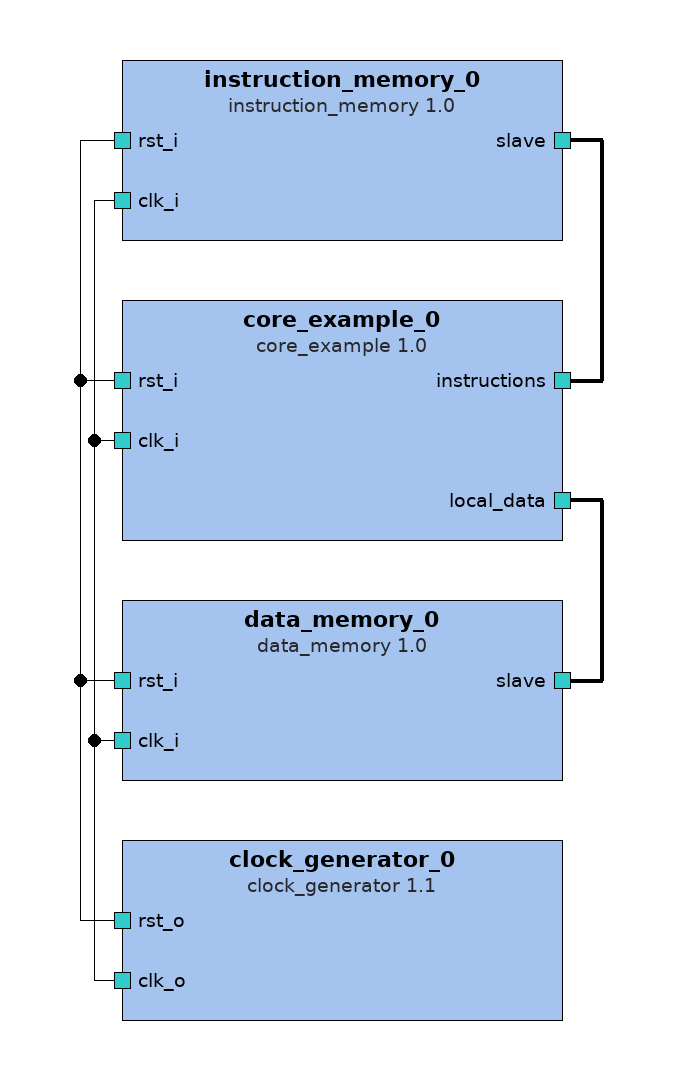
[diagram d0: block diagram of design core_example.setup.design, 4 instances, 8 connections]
<?xml version="1.0" encoding="UTF-8"?>
<ipxact:design xmlns:xsi="http://www.w3.org/2001/XMLSchema-instance" xmlns:ipxact="http://www.accellera.org/XMLSchema/IPXACT/1685-2014" xmlns:kactus2="http://kactus2.cs.tut.fi" xsi:schemaLocation="http://www.accellera.org/XMLSchema/IPXACT/1685-2014 http://www.accellera.org/XMLSchema/IPXACT/1685-2014/index.xsd"><ipxact:vendor>tuni.fi</ipxact:vendor><ipxact:library>cpu.subsystem.test</ipxact:library>
 <ipxact:name>core_example.setup.design</ipxact:name><ipxact:version>1.0</ipxact:version><ipxact:componentInstances>
 <ipxact:componentInstance><ipxact:instanceName>core_example_0</ipxact:instanceName><ipxact:componentRef vendor="tuni.fi" library="cpu.subsystem" name="core_example" version="1.0"/></ipxact:componentInstance>
 <ipxact:componentInstance><ipxact:instanceName>instruction_memory_0</ipxact:instanceName><ipxact:componentRef vendor="tuni.fi" library="cpu.logic.test" name="instruction_memory" version="1.0"/></ipxact:componentInstance>
 <ipxact:componentInstance><ipxact:instanceName>clock_generator_0</ipxact:instanceName><ipxact:componentRef vendor="tuni.fi" library="other.test" name="clock_generator" version="1.1"/></ipxact:componentInstance>
 <ipxact:componentInstance><ipxact:instanceName>data_memory_0</ipxact:instanceName><ipxact:componentRef vendor="tuni.fi" library="cpu.logic.test" name="data_memory" version="1.0"/></ipxact:componentInstance>
</ipxact:componentInstances><ipxact:interconnections>
 <ipxact:interconnection><ipxact:name>core_example_0_instructions_to_instruction_memory_0_slave</ipxact:name><ipxact:activeInterface componentRef="core_example_0" busRef="instructions"/><ipxact:activeInterface componentRef="instruction_memory_0" busRef="slave"/></ipxact:interconnection>
 <ipxact:interconnection><ipxact:name>data_memory_0_slave_to_core_example_0_local_data</ipxact:name><ipxact:activeInterface componentRef="data_memory_0" busRef="slave"/><ipxact:activeInterface componentRef="core_example_0" busRef="local_data"/></ipxact:interconnection>
</ipxact:interconnections><ipxact:adHocConnections>
 <ipxact:adHocConnection><ipxact:name>clock_generator_0_clk_o_to_instruction_memory_0_clk_i</ipxact:name><ipxact:portReferences><ipxact:internalPortReference componentRef="clock_generator_0" portRef="clk_o"/><ipxact:internalPortReference componentRef="instruction_memory_0" portRef="clk_i"/></ipxact:portReferences></ipxact:adHocConnection>
 <ipxact:adHocConnection><ipxact:name>clock_generator_0_clk_o_to_core_example_0_clk_i</ipxact:name><ipxact:portReferences><ipxact:internalPortReference componentRef="clock_generator_0" portRef="clk_o"/><ipxact:internalPortReference componentRef="core_example_0" portRef="clk_i"/></ipxact:portReferences></ipxact:adHocConnection>
 <ipxact:adHocConnection><ipxact:name>core_example_0_rst_i_to_clock_generator_0_rst_o</ipxact:name><ipxact:portReferences><ipxact:internalPortReference componentRef="core_example_0" portRef="rst_i"/><ipxact:internalPortReference componentRef="clock_generator_0" portRef="rst_o"/></ipxact:portReferences></ipxact:adHocConnection>
 <ipxact:adHocConnection><ipxact:name>clock_generator_0_rst_o_to_instruction_memory_0_rst_i</ipxact:name><ipxact:portReferences><ipxact:internalPortReference componentRef="clock_generator_0" portRef="rst_o"/><ipxact:internalPortReference componentRef="instruction_memory_0" portRef="rst_i"/></ipxact:portReferences></ipxact:adHocConnection>
 <ipxact:adHocConnection><ipxact:name>data_memory_0_rst_i_to_clock_generator_0_rst_o</ipxact:name><ipxact:portReferences><ipxact:internalPortReference componentRef="data_memory_0" portRef="rst_i"/><ipxact:internalPortReference componentRef="clock_generator_0" portRef="rst_o"/></ipxact:portReferences></ipxact:adHocConnection>
 <ipxact:adHocConnection><ipxact:name>data_memory_0_clk_i_to_clock_generator_0_clk_o</ipxact:name><ipxact:portReferences><ipxact:internalPortReference componentRef="data_memory_0" portRef="clk_i"/><ipxact:internalPortReference componentRef="clock_generator_0" portRef="clk_o"/></ipxact:portReferences></ipxact:adHocConnection>
</ipxact:adHocConnections></ipxact:design>

